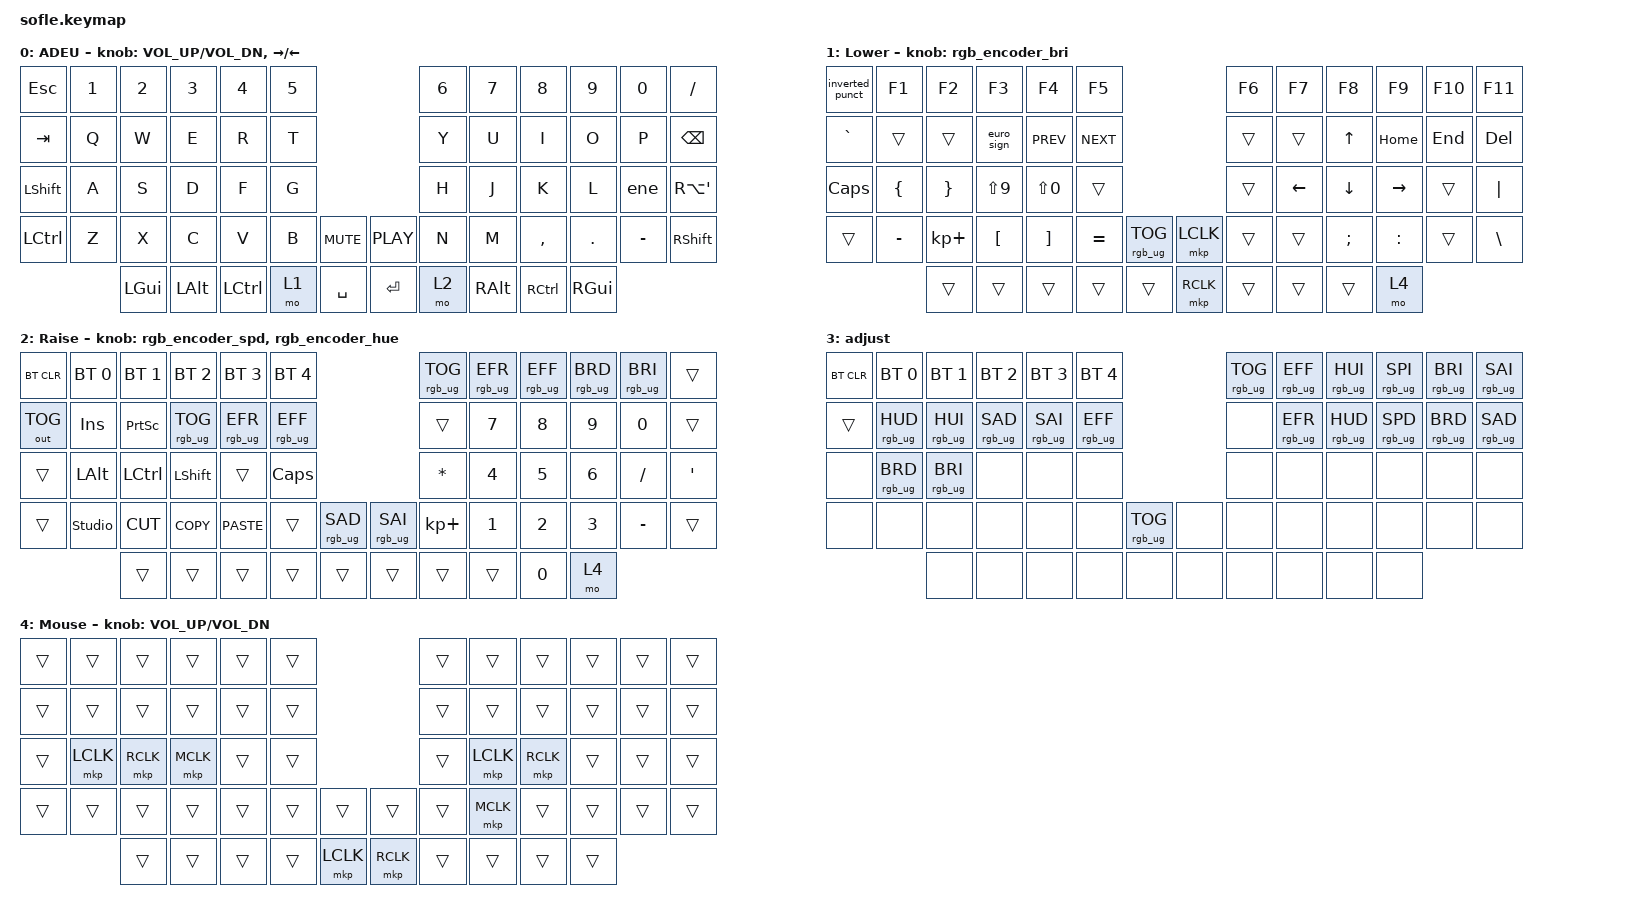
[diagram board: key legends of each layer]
//
// Copyright (c) 2024 The ZMK Contributors
//
// SPDX-License-Identifier: MIT
//

//               @@   @@@@@@@@@@@@  @@@@@@@@@@@@@@@@           @@@@         
//             @@@@@@         @@@@@@ @@@@@      @@@@           @@@@         
//           .@@@@@@@@           @@@@  @@@@     @@@@           @@@@         
//          @@@@   @@@@@         @@@@   @@@@@   @@@@           @@@@         
//        .@@@@      @@@@        @@@@ ,@@@@.    @@@@          @@@@          
//       @@@@         @@@@@   @@@@@@ @@@@@       @@@@@      @@@@@           
//     ,@@@@      @@@@@@@@@@@@@@@@ ,@@@@@@@@@@@@@  @@@@@@@@@@@@  
//
//      Custom keyboards, ergonomic and personalized interfaces 

#include <behaviors.dtsi>
#include <dt-bindings/zmk/keys.h>
#include <dt-bindings/zmk/bt.h>
#include <dt-bindings/zmk/mouse.h>
#include "../zmk-nodefree-config/helper.h"
#include "../zmk-nodefree-config/keypos_def/keypos_36keys.h"
#include <dt-bindings/zmk/rgb.h>
#include <dt-bindings/zmk/outputs.h>



// euro sign
ZMK_UNICODE_SINGLE(euro_sign, N2, N0, A, C)
// ene ENE sign
ZMK_UNICODE_PAIR(ene, N0, N0, F, N1, N0, N0, D, N1)
// Código Unicode: "¿" es U+00BF y "¡" es U+00A1
ZMK_UNICODE_PAIR(inverted_punct, N0, N0, B, F, N0, N0, A, 1)


/ {
    behaviors {
        rgb_encoder_bri: rgb_encoder_brightness {
            compatible = "zmk,behavior-sensor-rotate";
            #sensor-binding-cells = <0>;
            bindings = <&rgb_ug RGB_BRI>, <&rgb_ug RGB_BRD>;
        };
        
        rgb_encoder_hue: rgb_encoder_hue {
            compatible = "zmk,behavior-sensor-rotate";
            #sensor-binding-cells = <0>;
            bindings = <&rgb_ug RGB_HUI>, <&rgb_ug RGB_HUD>;
        };
        
        rgb_encoder_eff: rgb_encoder_effect {
            compatible = "zmk,behavior-sensor-rotate";
            #sensor-binding-cells = <0>;
            bindings = <&rgb_ug RGB_EFF>, <&rgb_ug RGB_EFR>;
        };

        rgb_encoder_spd: rgb_encoder_speed {
            compatible = "zmk,behavior-sensor-rotate";
            #sensor-binding-cells = <0>;
            bindings = <&rgb_ug RGB_SPI>, <&rgb_ug RGB_SPD>;
        };
        
    };

    conditional_layers {
        compatible = "zmk,conditional-layers"; 
        tri_layer {
            if-layers = <1 2>;
            then-layer = <3>;
        };
    };

    keymap {
        compatible = "zmk,keymap";
 
        default_layer {
            display-name = "ADEU";
// ------------------------------------------------------------------------------------------------------------------------------------------------------------------------------------------------------------------------
//                                             |  ESC  |  1! |  2@ |  3#  |  4$  |  5%  |                   |  6^  |  7&   |  8*   |  9(  |   0)  |  /?   |
//                                             |  TAB  |  Q  |  W  |  E   |  R   |  T   |                   |  Y   |  U    |  I    |  O   |   P   | BKSPC |
//                                             | SHIFT |  A  |  S  |  D   |  F   |  G   |                   |  H   |  J    |  K    |  L   |   Ñ   |   ’”  |
//                                             | CTRL  |  Z  |  X  |  C   |  V   |  B   |  MUTE  |  | PLAY  |  N   |  M    |  ,<   |  .>  |   -_  | SHIFT |
//                                                           | GUI | ALT  | CTRL | LOWER|  SPACE |  | ENTER | RAISE|  ALT  | CTRL  | GUI  |
            bindings = <
&kp ESC      &kp N1       &kp N2       &kp N3          &kp N4          &kp N5                                         &kp N6          &kp N7          &kp N8          &kp N9          &kp N0          &kp SLASH
&kp TAB      &kp Q        &kp W        &kp E           &kp R           &kp T                                          &kp Y           &kp U           &kp I           &kp O           &kp P           &kp BSPC
&kp LSHFT    &kp A        &kp S        &kp D           &kp F           &kp G                                          &kp H           &kp J           &kp K           &kp L           &ene            &kp RA(SQT)
&kp LCTRL    &kp Z        &kp X        &kp C           &kp V           &kp B            &kp C_MUTE        &kp C_PLAY  &kp N           &kp M           &kp COMMA       &kp DOT         &kp MINUS       &kp RSHFT
                          &kp LGUI     &kp LALT        &kp LCTRL       &mo 1            &kp SPACE         &kp RET     &mo 2           &kp RALT        &kp RCTRL       &kp RGUI
            >;

            sensor-bindings = <&inc_dec_kp C_VOL_UP C_VOL_DN &inc_dec_kp RIGHT LEFT>;
        };

        lower_layer {
            display-name = "Lower";
// TODO: Some binds are waiting for shifted keycode support.
// ------------------------------------------------------------------------------------------------------------------------------------------------------------------------------------------------------------------------
//                                             |  ¿ ¡  |  F1 |  F2 |  F3  |  F4  |  F5   |                   |  F6  |  F7   |  F8   |  F9  |  F10  |  F11  |
//                                             | `~    |     |     |  €   | prev | next  |                   |      |       |  UP   | HOME |  END  | Delet |
//                                             | CAPS  |  {  |  }  |  (   |  )   |       |                   |      | LEFT  | DOWN  | RIGHT|       |   |   |
//                                             |       |  -  |  +  |  [   |  ]   |  =    | RGBtog |  | LCLK |      |       |  ;    |  :   |       |   \   |
//                                                           |     |      |      |       |        |  | RCLK |      |       |       | MOUSE|
            bindings = <
&inverted_punct       &kp F1       &kp F2       &kp F3          &kp F4          &kp F5                                         &kp F6          &kp F7          &kp F8          &kp F9          &kp F10         &kp F11
&kp GRAVE    &trans       &trans       &euro_sign      &kp K_PREV      &kp K_NEXT                                     &trans          &trans          &kp UP          &kp HOME        &kp END         &kp DEL
&kp CAPS     &kp LBRC     &kp RBRC     &kp LS(N9)      &kp LS(N0)      &trans                                         &trans          &kp LEFT        &kp DOWN        &kp RIGHT       &trans          &kp PIPE
&trans       &kp MINUS    &kp KP_PLUS  &kp LBKT        &kp RBKT        &kp EQUAL        &rgb_ug RGB_TOG   &mkp LCLK   &trans          &trans          &kp SEMI        &kp COLON       &trans          &kp BSLH
                          &trans       &trans          &trans          &trans           &trans            &mkp RCLK   &trans          &trans          &trans          &mo 4
            >;

            sensor-bindings = <&rgb_encoder_bri>;
        };

        raise_layer {
            display-name = "Raise";
// ------------------------------------------------------------------------------------------------------------------------------------------------------------------------------------------------------------------------
//                                             | BTCLR | BT1  | BT2  | BT3  | BT4  | BT5  |                  | RGBT | RGB- | RGB+ | BR-  |  BR+  | Supr  |
//                                             |OUT sel| INS  | PSCR | RGBT | RGB- | RGB+ |                  |      |  7   |  8   |  9   |   0   |       |
//                                             |       | ALT  | CTRL | SHFT |      | CAPS |                  |  *   |  4   |  5   |  6   |   /   |  '    |
//                                             |       | ZSTU | CUT  | COPY | PASTE|      |RGB_SAD|  |RGB_SAI|  +   |  1   |  2   |  3   |   -   |       |
//                                                            |      |      |      |      |       |  |       |      |      |  0   | MOUSE|
            bindings = <
&bt BT_CLR   &bt BT_SEL 0 &bt BT_SEL 1 &bt BT_SEL 2    &bt BT_SEL 3    &bt BT_SEL 4                                      &rgb_ug RGB_TOG &rgb_ug RGB_EFR &rgb_ug RGB_EFF &rgb_ug RGB_BRD &rgb_ug RGB_BRI &trans
&out OUT_TOG &kp INS      &kp PSCRN    &rgb_ug RGB_TOG &rgb_ug RGB_EFR &rgb_ug RGB_EFF                                   &trans          &kp N7          &kp N8          &kp N9          &kp N0          &trans
&trans       &kp LALT     &kp LCTRL    &kp LSHFT       &trans          &kp CAPS                                          &kp ASTRK       &kp N4          &kp N5          &kp N6          &kp SLASH       &kp SQT
&trans       &studio_unlock   &kp K_CUT    &kp K_COPY      &kp K_PASTE     &trans         &rgb_ug RGB_SAD   &rgb_ug RGB_SAI  &kp KP_PLUS     &kp N1          &kp N2          &kp N3          &kp MINUS       &trans
                          &trans       &trans          &trans          &trans         &trans            &trans           &trans          &trans          &kp N0          &mo 4
            >;                                                                                                   

            sensor-bindings = <&rgb_encoder_spd &rgb_encoder_hue>;
        };

        adjust_layer {
// ----------------------------------------------------------------------------------------------------------------------------
// | BTCLR  |  BT1    |  BT2    |   BT3   |   BT4   |   BT5   |                  |      |      |       |      |       |       |
// |        | RGB_HUD | RGB_HUI | RGB_SAD | RGB_SAI | RGB_EFF |                  |      |      |       |      |       |       |
// |        | RGB_BRD | RGB_BRI |         |         |         |                  |      |      |       |      |       |       |
// |        |         |         |         |         |         | RGB_TOG | |      |      |      |       |      |       |       |
//                    |         |         |         |         |         | |      |      |      |       |      |
            display-name = "adjust";
            bindings = <
&bt BT_CLR        &bt BT_SEL 0    &bt BT_SEL 1    &bt BT_SEL 2    &bt BT_SEL 3    &bt BT_SEL 4                            &rgb_ug RGB_TOG &rgb_ug RGB_EFF &rgb_ug RGB_HUI &rgb_ug RGB_SPI &rgb_ug RGB_BRI &rgb_ug RGB_SAI
&trans            &rgb_ug RGB_HUD &rgb_ug RGB_HUI &rgb_ug RGB_SAD &rgb_ug RGB_SAI &rgb_ug RGB_EFF                         &none           &rgb_ug RGB_EFR &rgb_ug RGB_HUD &rgb_ug RGB_SPD &rgb_ug RGB_BRD &rgb_ug RGB_SAD 
&none             &rgb_ug RGB_BRD &rgb_ug RGB_BRI &none           &none           &none                                   &none &none &none &none &none &none
&none             &none           &none           &none           &none           &none            &rgb_ug RGB_TOG &none  &none &none &none &none &none &none
                                  &none           &none           &none           &none            &none           &none  &none &none &none &none
            >;
        };

        mouse_layer {
            display-name = "Mouse";
            bindings = <
&trans       &trans       &trans       &trans          &trans          &trans                                         &trans          &trans          &trans          &trans          &trans          &trans
&trans       &trans       &trans       &trans          &trans          &trans                                         &trans          &trans          &trans          &trans          &trans          &trans
&trans       &mkp LCLK    &mkp RCLK    &mkp MCLK       &trans          &trans                                         &trans          &mkp LCLK       &mkp RCLK       &trans          &trans          &trans
&trans       &trans       &trans       &trans          &trans          &trans           &trans            &trans      &trans          &mkp MCLK       &trans          &trans          &trans          &trans
                          &trans       &trans          &trans          &trans           &mkp LCLK         &mkp RCLK   &trans          &trans          &trans          &trans
            >;
            sensor-bindings = <&inc_dec_kp C_VOL_UP C_VOL_DN>;
        };

    };
};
